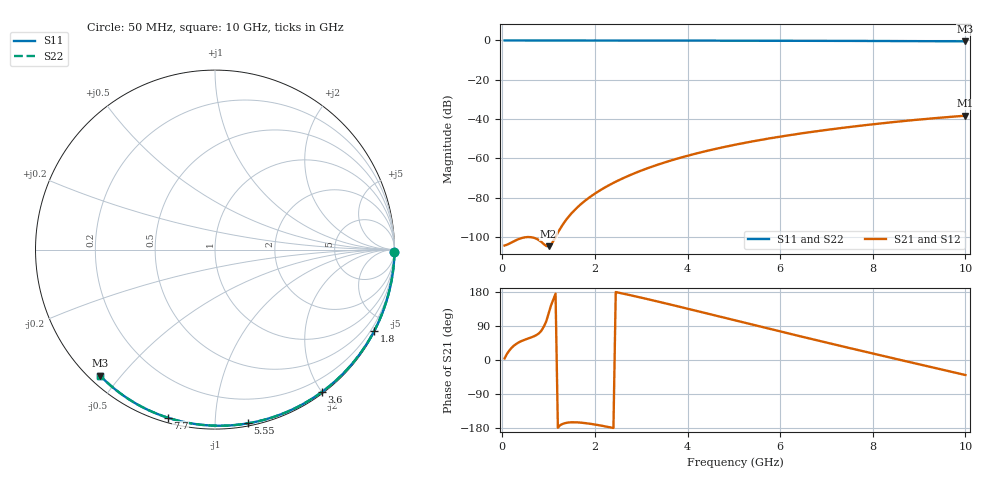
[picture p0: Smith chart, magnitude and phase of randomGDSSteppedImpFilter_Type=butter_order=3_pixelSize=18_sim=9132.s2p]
! freq	dB(S11)	phase(S11)	dB(S12)	phase(S12)
!  dB(S21)	phase(S21)	dB(S22)	phase(S22)
!S-par simulation data
#  GHz  S  DB  R 50
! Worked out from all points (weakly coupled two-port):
!   200 points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, 50 MHz to 10 GHz, reference 50 ohm
!   highest |S21| = -38.31 dB at 10 GHz (marker M1); lowest = -104.7 dB at 1 GHz (marker M2)
!   lowest |S11| = -0.4 dB at 10 GHz (marker M3), VSWR 38.99, Z = 1.53 - j22 ohm
!   |S11| at or under -10 dB: nowhere
!   |S22| runs from -0.4 to 0.0 dB; largest |S21 - S12| = 0
!   S11 on the Smith chart (normalised r, x): 50 MHz: open; 1.8 GHz: 0.04, -4.14; 3.6 GHz: 0.02, -2.00; 5.55 GHz: 0.02, -1.21; 7.7 GHz: 0.02, -0.76; 10 GHz: 0.03, -0.44
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0.05  -0.00 -0.8  -104.38 4.3  -104.38 4.3  -0.00 -0.8
0.5  -0.01 -7.6  -100.18 54.2  -100.18 54.2  -0.01 -7.6
1  -0.02 -15.2  -104.72 123.0  -104.72 123.0  -0.02 -15.2
1.75  -0.03 -26.4  -82.29 -166.0  -82.29 -166.0  -0.03 -26.4
1.8  -0.03 -27.1  -81.35 -166.7  -81.35 -166.7  -0.03 -27.1
1.85  -0.04 -27.9  -80.45 -167.5  -80.45 -167.5  -0.04 -27.9
1.9  -0.04 -28.6  -79.59 -168.4  -79.59 -168.4  -0.04 -28.6
2.05  -0.04 -30.8  -77.19 -171.3  -77.19 -171.3  -0.04 -30.8
2.25  -0.04 -33.7  -74.38 -175.8  -74.38 -175.8  -0.04 -33.7
2.65  -0.05 -39.6  -69.66 174.1  -69.66 174.1  -0.05 -39.6
3  -0.06 -44.6  -66.24 164.5  -66.24 164.5  -0.06 -44.6
3.4  -0.07 -50.2  -62.90 153.1  -62.90 153.1  -0.07 -50.2
3.6  -0.07 -53.0  -61.40 147.3  -61.40 147.3  -0.07 -53.0
4.3  -0.09 -62.7  -56.88 126.5  -56.88 126.5  -0.09 -62.7
5.05  -0.11 -72.7  -52.97 103.9  -52.97 103.9  -0.11 -72.7
5.55  -0.13 -79.2  -50.75 88.9  -50.75 88.9  -0.13 -79.2
6.1  -0.15 -86.2  -48.59 72.5  -48.59 72.5  -0.15 -86.2
6.7  -0.18 -93.7  -46.50 54.8  -46.50 54.8  -0.18 -93.7
7.7  -0.24 -105.8  -43.49 25.7  -43.49 25.7  -0.24 -105.8
8.35  -0.29 -113.4  -41.79 7.2  -41.79 7.2  -0.29 -113.4
9.15  -0.36 -122.7  -39.95 -15.6  -39.95 -15.6  -0.36 -122.7
10  -0.45 -132.4  -38.31 -39.6  -38.31 -39.6  -0.45 -132.4
